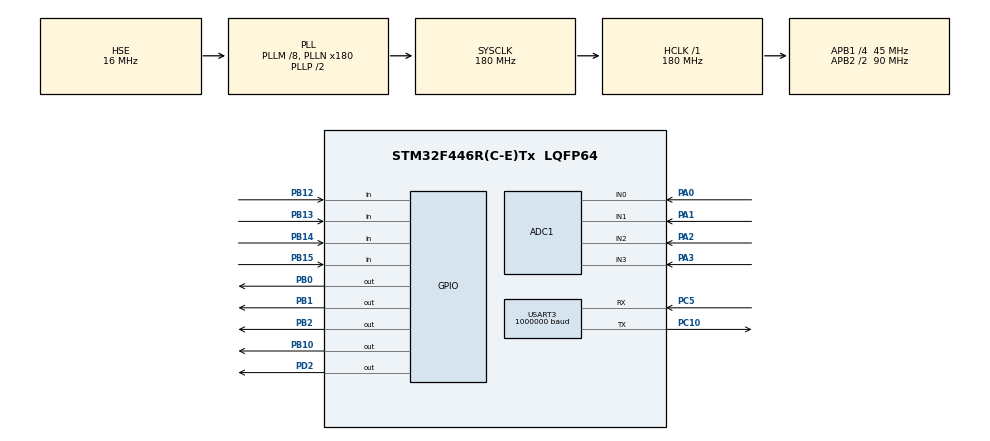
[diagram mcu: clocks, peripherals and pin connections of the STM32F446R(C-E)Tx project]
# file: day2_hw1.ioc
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ADC1.Channel-0\#ChannelRegularConversion=ADC_CHANNEL_0
ADC1.Channel-1\#ChannelRegularConversion=ADC_CHANNEL_1
ADC1.Channel-2\#ChannelRegularConversion=ADC_CHANNEL_2
ADC1.Channel-3\#ChannelRegularConversion=ADC_CHANNEL_3
ADC1.DMAContinuousRequests=ENABLE
ADC1.ExternalTrigConv=ADC_EXTERNALTRIGCONV_T8_TRGO
ADC1.NbrOfConversion=4
ADC1.NbrOfConversionFlag=1
ADC1.Rank-0\#ChannelRegularConversion=1
ADC1.Rank-1\#ChannelRegularConversion=2
ADC1.Rank-2\#ChannelRegularConversion=3
ADC1.Rank-3\#ChannelRegularConversion=4
ADC1.SamplingTime-0\#ChannelRegularConversion=ADC_SAMPLETIME_15CYCLES
ADC1.SamplingTime-1\#ChannelRegularConversion=ADC_SAMPLETIME_15CYCLES
ADC1.SamplingTime-2\#ChannelRegularConversion=ADC_SAMPLETIME_15CYCLES
ADC1.SamplingTime-3\#ChannelRegularConversion=ADC_SAMPLETIME_15CYCLES
ADC1.ScanConvMode=ENABLE
ADC1.master=1
Dma.ADC1.0.Direction=DMA_PERIPH_TO_MEMORY
Dma.ADC1.0.FIFOMode=DMA_FIFOMODE_DISABLE
Dma.ADC1.0.Instance=DMA2_Stream0
Dma.ADC1.0.MemDataAlignment=DMA_MDATAALIGN_WORD
Dma.ADC1.0.MemInc=DMA_MINC_ENABLE
Dma.ADC1.0.Mode=DMA_CIRCULAR
Dma.ADC1.0.PeriphDataAlignment=DMA_PDATAALIGN_WORD
Dma.ADC1.0.PeriphInc=DMA_PINC_DISABLE
Dma.ADC1.0.Priority=DMA_PRIORITY_LOW
Dma.Request0=ADC1
Dma.Request1=USART3_RX
Dma.USART3_RX.1.Direction=DMA_PERIPH_TO_MEMORY
Dma.USART3_RX.1.FIFOMode=DMA_FIFOMODE_DISABLE
Dma.USART3_RX.1.Instance=DMA1_Stream1
Dma.USART3_RX.1.MemDataAlignment=DMA_MDATAALIGN_BYTE
Dma.USART3_RX.1.MemInc=DMA_MINC_ENABLE
Dma.USART3_RX.1.Mode=DMA_CIRCULAR
Dma.USART3_RX.1.PeriphDataAlignment=DMA_PDATAALIGN_BYTE
Dma.USART3_RX.1.PeriphInc=DMA_PINC_DISABLE
Dma.USART3_RX.1.Priority=DMA_PRIORITY_LOW
Mcu.Family=STM32F4
Mcu.Name=STM32F446R(C-E)Tx
Mcu.Package=LQFP64
NVIC.ADC_IRQn=true\:0\:0\:false\:false\:true\:true\:true\:true
NVIC.DMA1_Stream1_IRQn=true\:0\:0\:false\:false\:true\:false\:true\:true
NVIC.DMA2_Stream0_IRQn=true\:0\:0\:false\:false\:true\:false\:true\:true
NVIC.PriorityGroup=NVIC_PRIORITYGROUP_4
NVIC.TIM6_DAC_IRQn=true\:0\:0\:false\:false\:true\:true\:true\:true
NVIC.TIM8_UP_TIM13_IRQn=true\:0\:0\:false\:false\:true\:true\:true\:true
NVIC.USART3_IRQn=true\:0\:0\:false\:false\:true\:true\:true\:true
PA0-WKUP.Signal=ADCx_IN0
PA1.Signal=ADCx_IN1
PA13.Mode=Serial_Wire
PA13.Signal=SYS_JTMS-SWDIO
PA14.Mode=Serial_Wire
PA14.Signal=SYS_JTCK-SWCLK
PA2.Signal=ADCx_IN2
PA3.Signal=ADCx_IN3
PB0.Signal=GPIO_Output
PB1.Signal=GPIO_Output
PB10.Signal=GPIO_Output
PB12.Signal=GPIO_Input
PB13.Signal=GPIO_Input
PB14.Signal=GPIO_Input
PB15.Signal=GPIO_Input
PB2.Signal=GPIO_Output
PC10.Mode=Asynchronous
PC10.Signal=USART3_TX
PC5.Mode=Asynchronous
PC5.Signal=USART3_RX
PD2.Signal=GPIO_Output
PH0-OSC_IN.Mode=HSE-External-Oscillator
PH0-OSC_IN.Signal=RCC_OSC_IN
PH1-OSC_OUT.Mode=HSE-External-Oscillator
PH1-OSC_OUT.Signal=RCC_OSC_OUT
ProjectManager.HeapSize=0x200
ProjectManager.StackSize=0x400
ProjectManager.TargetToolchain=STM32CubeIDE
RCC.AHBFreq_Value=180000000
RCC.APB1CLKDivider=RCC_HCLK_DIV4
RCC.APB1Freq_Value=45000000
RCC.APB1TimFreq_Value=90000000
RCC.APB2CLKDivider=RCC_HCLK_DIV2
RCC.APB2Freq_Value=90000000
RCC.APB2TimFreq_Value=180000000
RCC.CortexFreq_Value=180000000
RCC.HCLKFreq_Value=180000000
RCC.HSE_VALUE=16000000
RCC.PLLM=8
RCC.PLLN=180
RCC.PLLSourceVirtual=RCC_PLLSOURCE_HSE
RCC.SYSCLKFreq_VALUE=180000000
RCC.SYSCLKSource=RCC_SYSCLKSOURCE_PLLCLK
RCC.USBFreq_Value=180000000
RCC.VCOOutputFreq_Value=360000000
SH.ADCx_IN0.0=ADC1_IN0,IN0
SH.ADCx_IN1.0=ADC1_IN1,IN1
SH.ADCx_IN2.0=ADC1_IN2,IN2
SH.ADCx_IN3.0=ADC1_IN3,IN3
TIM6.Period=100-1
TIM6.Prescaler=90-1
TIM8.Period=10000-1
TIM8.Prescaler=180-1
TIM8.TIM_MasterOutputTrigger=TIM_TRGO_UPDATE
USART3.BaudRate=1000000
USART3.VirtualMode=VM_ASYNC
VP_TIM6_VS_ClockSourceINT.Mode=Enable_Timer
VP_TIM8_VS_ClockSourceINT.Mode=Internal
board=custom

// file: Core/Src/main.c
/* USER CODE BEGIN Header */
/**
  ******************************************************************************
  * @file           : main.c
  * @brief          : Main program body
  ******************************************************************************
  * @attention
  *
  * Copyright (c) 2026 STMicroelectronics.
  * All rights reserved.
  *
  * This software is licensed under terms that can be found in the LICENSE file
  * in the root directory of this software component.
  * If no LICENSE file comes with this software, it is provided AS-IS.
  *
  ******************************************************************************
  */
/* USER CODE END Header */
#include "main.h"

ADC_HandleTypeDef hadc1;
DMA_HandleTypeDef hdma_adc1;

TIM_HandleTypeDef htim6;
TIM_HandleTypeDef htim8;

void SystemClock_Config(void);
static void MX_GPIO_Init(void);
static void MX_DMA_Init(void);
static void MX_ADC1_Init(void);
static void MX_TIM8_Init(void);
static void MX_TIM6_Init(void);
static void MX_USART3_UART_Init(void);

/* USER CODE BEGIN 0 */
#define SW_ACTIVE     GPIO_PIN_RESET // 스위치를 눌렀을 때의 핀 상태
#define LED_ON_LEVEL  GPIO_PIN_RESET
#define LED_OFF_LEVEL (LED_ON_LEVEL == GPIO_PIN_SET ? GPIO_PIN_RESET : GPIO_PIN_SET)

// TIM6 인터럽트 주기: Prescaler 90-1, Period 100-1 @ 타이머 클럭 90MHz -> 100us
#define TIM6_TICK_US   100UL
#define TOGGLE_TICKS   (500000UL / TIM6_TICK_US) // 0.5초 = 5000틱

// 스위치 1개가 LED 1개를 담당: 누르고 있는 동안만 0.5초 주기로 토글, 떼면 꺼짐.
// 스위치·LED 쌍마다 독립적인 카운터가 필요해서 구조체 배열로 묶는다.
typedef struct {
  uint16_t sw_pin;   // 읽을 스위치 핀 (GPIOB)
  uint16_t led_pin;  // 제어할 LED 핀 (GPIOB)
  uint32_t tick;     // 이 쌍이 스위치 눌린 뒤 지난 인터럽트 횟수 (TOGGLE_TICKS에 도달하면 토글)
  uint8_t  on;       // 지금 LED가 켜진 상태인지 (0/1). 다음 토글 방향을 결정
} SwLed_t;

static SwLed_t sw_leds[4] = {
  { GPIO_PIN_12, GPIO_PIN_0,  0, 0 }, // PB12 -> PB0
  { GPIO_PIN_13, GPIO_PIN_1,  0, 0 }, // PB13 -> PB1
  { GPIO_PIN_14, GPIO_PIN_2,  0, 0 }, // PB14 -> PB2
  { GPIO_PIN_15, GPIO_PIN_10, 0, 0 }, // PB15 -> PB10
};

static uint32_t pd2_tick = 0; // PD2가 마지막으로 토글된 뒤 지난 인터럽트 횟수
/* USER CODE END 0 */

int main(void)
{

  /* MCU Configuration--------------------------------------------------------*/

  /* Reset of all peripherals, Initializes the Flash interface and the Systick. */
  HAL_Init();

  /* Configure the system clock */
  SystemClock_Config();

  /* Initialize all configured peripherals */
  MX_GPIO_Init();
  MX_DMA_Init();
  MX_ADC1_Init();
  MX_TIM8_Init();
  MX_TIM6_Init();
  MX_USART3_UART_Init();
  /* USER CODE BEGIN 2 */
  HAL_TIM_Base_Start_IT(&htim6);
  /* USER CODE END 2 */

  /* Infinite loop */
  while (1)
  {

  }
}

void SystemClock_Config(void)
{
  RCC_OscInitTypeDef RCC_OscInitStruct = {0};
  RCC_ClkInitTypeDef RCC_ClkInitStruct = {0};

  /** Configure the main internal regulator output voltage
  */
  __HAL_RCC_PWR_CLK_ENABLE();
  __HAL_PWR_VOLTAGESCALING_CONFIG(PWR_REGULATOR_VOLTAGE_SCALE1);

  /** Initializes the RCC Oscillators according to the specified parameters
  * in the RCC_OscInitTypeDef structure.
  */
  RCC_OscInitStruct.OscillatorType = RCC_OSCILLATORTYPE_HSE;
  RCC_OscInitStruct.HSEState = RCC_HSE_ON;
  RCC_OscInitStruct.PLL.PLLState = RCC_PLL_ON;
  RCC_OscInitStruct.PLL.PLLSource = RCC_PLLSOURCE_HSE;
  RCC_OscInitStruct.PLL.PLLM = 8;
  RCC_OscInitStruct.PLL.PLLN = 180;
  RCC_OscInitStruct.PLL.PLLP = RCC_PLLP_DIV2;
  RCC_OscInitStruct.PLL.PLLQ = 2;
  RCC_OscInitStruct.PLL.PLLR = 2;
  if (HAL_RCC_OscConfig(&RCC_OscInitStruct) != HAL_OK)
  {
    Error_Handler();
  }

  /** Activate the Over-Drive mode
  */
  if (HAL_PWREx_EnableOverDrive() != HAL_OK)
  {
    Error_Handler();
  }

  /** Initializes the CPU, AHB and APB buses clocks
  */
  RCC_ClkInitStruct.ClockType = RCC_CLOCKTYPE_HCLK|RCC_CLOCKTYPE_SYSCLK
                              |RCC_CLOCKTYPE_PCLK1|RCC_CLOCKTYPE_PCLK2;
  RCC_ClkInitStruct.SYSCLKSource = RCC_SYSCLKSOURCE_PLLCLK;
  RCC_ClkInitStruct.AHBCLKDivider = RCC_SYSCLK_DIV1;
  RCC_ClkInitStruct.APB1CLKDivider = RCC_HCLK_DIV4;
  RCC_ClkInitStruct.APB2CLKDivider = RCC_HCLK_DIV2;

  if (HAL_RCC_ClockConfig(&RCC_ClkInitStruct, FLASH_LATENCY_5) != HAL_OK)
  {
    Error_Handler();
  }
}

static void MX_ADC1_Init(void)
{

  ADC_ChannelConfTypeDef sConfig = {0};

  /** Configure the global features of the ADC (Clock, Resolution, Data Alignment and number of conversion)
  */
  hadc1.Instance = ADC1;
  hadc1.Init.ClockPrescaler = ADC_CLOCK_SYNC_PCLK_DIV4;
  hadc1.Init.Resolution = ADC_RESOLUTION_12B;
  hadc1.Init.ScanConvMode = ENABLE;
  hadc1.Init.ContinuousConvMode = DISABLE;
  hadc1.Init.DiscontinuousConvMode = DISABLE;
  hadc1.Init.ExternalTrigConvEdge = ADC_EXTERNALTRIGCONVEDGE_RISING;
  hadc1.Init.ExternalTrigConv = ADC_EXTERNALTRIGCONV_T8_TRGO;
  hadc1.Init.DataAlign = ADC_DATAALIGN_RIGHT;
  hadc1.Init.NbrOfConversion = 4;
  hadc1.Init.DMAContinuousRequests = ENABLE;
  hadc1.Init.EOCSelection = ADC_EOC_SINGLE_CONV;
  if (HAL_ADC_Init(&hadc1) != HAL_OK)
  {
    Error_Handler();
  }

  /** Configure for the selected ADC regular channel its corresponding rank in the sequencer and its sample time.
  */
  sConfig.Channel = ADC_CHANNEL_0;
  sConfig.Rank = 1;
  sConfig.SamplingTime = ADC_SAMPLETIME_15CYCLES;
  if (HAL_ADC_ConfigChannel(&hadc1, &sConfig) != HAL_OK)
  {
    Error_Handler();
  }

  /** Configure for the selected ADC regular channel its corresponding rank in the sequencer and its sample time.
  */
  sConfig.Channel = ADC_CHANNEL_1;
  sConfig.Rank = 2;
  if (HAL_ADC_ConfigChannel(&hadc1, &sConfig) != HAL_OK)
  {
    Error_Handler();
  }

  /** Configure for the selected ADC regular channel its corresponding rank in the sequencer and its sample time.
  */
  sConfig.Channel = ADC_CHANNEL_2;
  sConfig.Rank = 3;
  if (HAL_ADC_ConfigChannel(&hadc1, &sConfig) != HAL_OK)
  {
    Error_Handler();
  }

  /** Configure for the selected ADC regular channel its corresponding rank in the sequencer and its sample time.
  */
  sConfig.Channel = ADC_CHANNEL_3;
  sConfig.Rank = 4;
  if (HAL_ADC_ConfigChannel(&hadc1, &sConfig) != HAL_OK)
  {
    Error_Handler();
  }

}

static void MX_TIM6_Init(void)
{

  TIM_MasterConfigTypeDef sMasterConfig = {0};

  htim6.Instance = TIM6;
  htim6.Init.Prescaler = 90-1;
  htim6.Init.CounterMode = TIM_COUNTERMODE_UP;
  htim6.Init.Period = 100-1;
  htim6.Init.AutoReloadPreload = TIM_AUTORELOAD_PRELOAD_DISABLE;
  if (HAL_TIM_Base_Init(&htim6) != HAL_OK)
  {
    Error_Handler();
  }
  sMasterConfig.MasterOutputTrigger = TIM_TRGO_RESET;
  sMasterConfig.MasterSlaveMode = TIM_MASTERSLAVEMODE_DISABLE;
  if (HAL_TIMEx_MasterConfigSynchronization(&htim6, &sMasterConfig) != HAL_OK)
  {
    Error_Handler();
  }

}

static void MX_TIM8_Init(void)
{

  TIM_ClockConfigTypeDef sClockSourceConfig = {0};
  TIM_MasterConfigTypeDef sMasterConfig = {0};

  htim8.Instance = TIM8;
  htim8.Init.Prescaler = 180-1;
  htim8.Init.CounterMode = TIM_COUNTERMODE_UP;
  htim8.Init.Period = 10000-1;
  htim8.Init.ClockDivision = TIM_CLOCKDIVISION_DIV1;
  htim8.Init.RepetitionCounter = 0;
  htim8.Init.AutoReloadPreload = TIM_AUTORELOAD_PRELOAD_DISABLE;
  if (HAL_TIM_Base_Init(&htim8) != HAL_OK)
  {
    Error_Handler();
  }
  sClockSourceConfig.ClockSource = TIM_CLOCKSOURCE_INTERNAL;
  if (HAL_TIM_ConfigClockSource(&htim8, &sClockSourceConfig) != HAL_OK)
  {
    Error_Handler();
  }
  sMasterConfig.MasterOutputTrigger = TIM_TRGO_UPDATE;
  sMasterConfig.MasterSlaveMode = TIM_MASTERSLAVEMODE_DISABLE;
  if (HAL_TIMEx_MasterConfigSynchronization(&htim8, &sMasterConfig) != HAL_OK)
  {
    Error_Handler();
  }

}

static void MX_USART3_UART_Init(void)
{

  LL_USART_InitTypeDef USART_InitStruct = {0};

  LL_GPIO_InitTypeDef GPIO_InitStruct = {0};

  /* Peripheral clock enable */
  LL_APB1_GRP1_EnableClock(LL_APB1_GRP1_PERIPH_USART3);

  LL_AHB1_GRP1_EnableClock(LL_AHB1_GRP1_PERIPH_GPIOC);
  /**USART3 GPIO Configuration
  PC5   ------> USART3_RX
  PC10   ------> USART3_TX
  */
  GPIO_InitStruct.Pin = LL_GPIO_PIN_5|LL_GPIO_PIN_10;
  GPIO_InitStruct.Mode = LL_GPIO_MODE_ALTERNATE;
  GPIO_InitStruct.Speed = LL_GPIO_SPEED_FREQ_VERY_HIGH;
  GPIO_InitStruct.OutputType = LL_GPIO_OUTPUT_PUSHPULL;
  GPIO_InitStruct.Pull = LL_GPIO_PULL_NO;
  GPIO_InitStruct.Alternate = LL_GPIO_AF_7;
  LL_GPIO_Init(GPIOC, &GPIO_InitStruct);

  /* USART3 DMA Init */

  /* USART3_RX Init */
  LL_DMA_SetChannelSelection(DMA1, LL_DMA_STREAM_1, LL_DMA_CHANNEL_4);

  LL_DMA_SetDataTransferDirection(DMA1, LL_DMA_STREAM_1, LL_DMA_DIRECTION_PERIPH_TO_MEMORY);

  LL_DMA_SetStreamPriorityLevel(DMA1, LL_DMA_STREAM_1, LL_DMA_PRIORITY_LOW);

  LL_DMA_SetMode(DMA1, LL_DMA_STREAM_1, LL_DMA_MODE_CIRCULAR);

  LL_DMA_SetPeriphIncMode(DMA1, LL_DMA_STREAM_1, LL_DMA_PERIPH_NOINCREMENT);

  LL_DMA_SetMemoryIncMode(DMA1, LL_DMA_STREAM_1, LL_DMA_MEMORY_INCREMENT);

  LL_DMA_SetPeriphSize(DMA1, LL_DMA_STREAM_1, LL_DMA_PDATAALIGN_BYTE);

  LL_DMA_SetMemorySize(DMA1, LL_DMA_STREAM_1, LL_DMA_MDATAALIGN_BYTE);

  LL_DMA_DisableFifoMode(DMA1, LL_DMA_STREAM_1);

  /* USART3 interrupt Init */
  NVIC_SetPriority(USART3_IRQn, NVIC_EncodePriority(NVIC_GetPriorityGrouping(),0, 0));
  NVIC_EnableIRQ(USART3_IRQn);

  USART_InitStruct.BaudRate = 1000000;
  USART_InitStruct.DataWidth = LL_USART_DATAWIDTH_8B;
  USART_InitStruct.StopBits = LL_USART_STOPBITS_1;
  USART_InitStruct.Parity = LL_USART_PARITY_NONE;
  USART_InitStruct.TransferDirection = LL_USART_DIRECTION_TX_RX;
  USART_InitStruct.HardwareFlowControl = LL_USART_HWCONTROL_NONE;
  USART_InitStruct.OverSampling = LL_USART_OVERSAMPLING_16;
  LL_USART_Init(USART3, &USART_InitStruct);
  LL_USART_ConfigAsyncMode(USART3);
  LL_USART_Enable(USART3);

}

static void MX_DMA_Init(void)
{

  /* DMA controller clock enable */
  __HAL_RCC_DMA2_CLK_ENABLE();
  __HAL_RCC_DMA1_CLK_ENABLE();

  /* DMA interrupt init */
  /* DMA1_Stream1_IRQn interrupt configuration */
  NVIC_SetPriority(DMA1_Stream1_IRQn, NVIC_EncodePriority(NVIC_GetPriorityGrouping(),0, 0));
  NVIC_EnableIRQ(DMA1_Stream1_IRQn);
  /* DMA2_Stream0_IRQn interrupt configuration */
  HAL_NVIC_SetPriority(DMA2_Stream0_IRQn, 0, 0);
  HAL_NVIC_EnableIRQ(DMA2_Stream0_IRQn);

}

static void MX_GPIO_Init(void)
{
  GPIO_InitTypeDef GPIO_InitStruct = {0};

  /* GPIO Ports Clock Enable */
  __HAL_RCC_GPIOH_CLK_ENABLE();
  __HAL_RCC_GPIOA_CLK_ENABLE();
  __HAL_RCC_GPIOC_CLK_ENABLE();
  __HAL_RCC_GPIOB_CLK_ENABLE();
  __HAL_RCC_GPIOD_CLK_ENABLE();

  /*Configure GPIO pin Output Level */
  HAL_GPIO_WritePin(GPIOB, GPIO_PIN_0|GPIO_PIN_1|GPIO_PIN_2|GPIO_PIN_10, GPIO_PIN_RESET);

  /*Configure GPIO pin Output Level */
  HAL_GPIO_WritePin(GPIOD, GPIO_PIN_2, GPIO_PIN_RESET);

  /*Configure GPIO pins : PB0 PB1 PB2 PB10 */
  GPIO_InitStruct.Pin = GPIO_PIN_0|GPIO_PIN_1|GPIO_PIN_2|GPIO_PIN_10;
  GPIO_InitStruct.Mode = GPIO_MODE_OUTPUT_PP;
  GPIO_InitStruct.Pull = GPIO_NOPULL;
  GPIO_InitStruct.Speed = GPIO_SPEED_FREQ_LOW;
  HAL_GPIO_Init(GPIOB, &GPIO_InitStruct);

  /*Configure GPIO pins : PB12 PB13 PB14 PB15 */
  GPIO_InitStruct.Pin = GPIO_PIN_12|GPIO_PIN_13|GPIO_PIN_14|GPIO_PIN_15;
  GPIO_InitStruct.Mode = GPIO_MODE_INPUT;
  GPIO_InitStruct.Pull = GPIO_NOPULL;
  HAL_GPIO_Init(GPIOB, &GPIO_InitStruct);

  /*Configure GPIO pin : PD2 */
  GPIO_InitStruct.Pin = GPIO_PIN_2;
  GPIO_InitStruct.Mode = GPIO_MODE_OUTPUT_PP;
  GPIO_InitStruct.Pull = GPIO_NOPULL;
  GPIO_InitStruct.Speed = GPIO_SPEED_FREQ_LOW;
  HAL_GPIO_Init(GPIOD, &GPIO_InitStruct);

}

/* USER CODE BEGIN 4 */
void HAL_TIM_PeriodElapsedCallback(TIM_HandleTypeDef *htim)
{
  // TIM6은 100us마다 이 콜백을 호출한다. 여기서 직접 시간을 세는 대신
  // "몇 번 호출됐는지"를 카운터로 누적해서, 카운터가 TOGGLE_TICKS(5000회
  // = 0.5초)에 도달할 때만 실제 GPIO를 건드린다.
  if (htim->Instance == TIM6) {
    // 1. PD2: 0.5초마다 토글 (켜짐 0.5초 + 꺼짐 0.5초 = 1초 주기)
    if (++pd2_tick >= TOGGLE_TICKS) {
      pd2_tick = 0;          // 카운터를 0부터 다시 셈
      HAL_GPIO_TogglePin(GPIOD, GPIO_PIN_2);
    }

    // 2. 스위치별 LED: 4쌍을 순서대로 검사
    for (int i = 0; i < 4; i++) {
      SwLed_t *s = &sw_leds[i];

      if (HAL_GPIO_ReadPin(GPIOB, s->sw_pin) == SW_ACTIVE) {
        // 스위치가 눌려 있는 동안: 카운터를 계속 누적하다가
        // 0.5초치가 쌓이면 LED를 반대 상태로 바꾸고 카운터 리셋
        if (++s->tick >= TOGGLE_TICKS) {
          s->tick = 0;
          s->on = !s->on;
          HAL_GPIO_WritePin(GPIOB, s->led_pin, s->on ? LED_ON_LEVEL : LED_OFF_LEVEL);
        }
      } else {
        // 스위치를 뗀 상태: LED를 끄고 카운터도 리셋해서,
        // 다음에 다시 누르면 항상 꺼진 상태에서 새로 깜빡이기 시작하게 한다
        s->tick = 0;
        s->on = 0;
        HAL_GPIO_WritePin(GPIOB, s->led_pin, LED_OFF_LEVEL);
      }
    }
  }
}
/* USER CODE END 4 */

void Error_Handler(void)
{
  __disable_irq();
  while (1)
  {
  }
}
